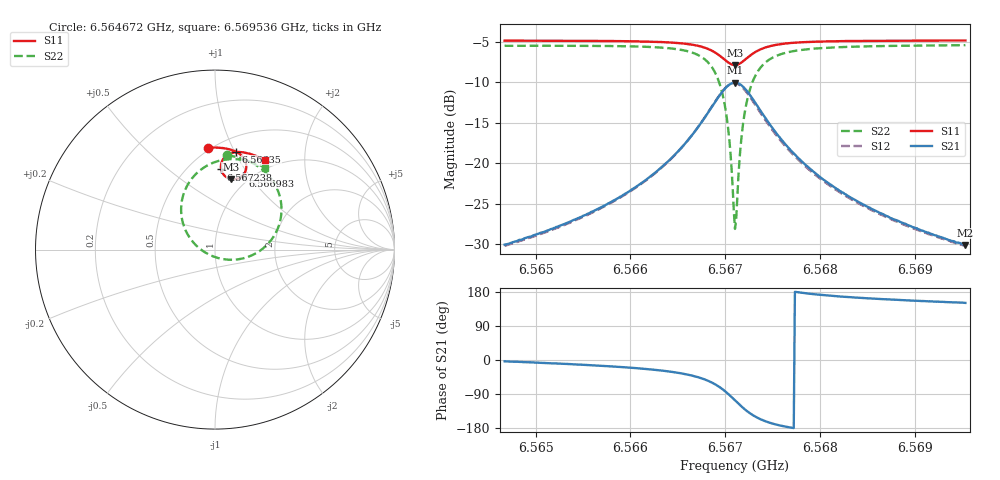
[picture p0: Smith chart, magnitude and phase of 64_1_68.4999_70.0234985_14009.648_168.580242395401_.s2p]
#  HZ  S  RI  R  50.00
! Rohde & Schwarz Vector Network Analyzer
! Rohde-Schwarz,ZNB20-2Port,1311601062101988,3.16
! Created: UTC 3/20/2024, 4:51:21 PM
! freq[Hz]  re:S11  im:S11  re:S21  im:S21  re:S12  im:S12  re:S22  im:S22
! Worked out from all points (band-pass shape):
!   401 points, 6.564672 GHz to 6.569536 GHz, reference 50 ohm
!   highest |S21| = -10.07 dB at 6.567104 GHz (marker M1); lowest = -30.1 dB at 6.569536 GHz (marker M2)
!   |S21| within 3 dB of the highest: 6.56686 GHz to 6.567347 GHz (486.7 kHz wide, 0.00741 % of centre)
!   lowest |S11| = -7.9 dB at 6.567104 GHz (marker M3), VSWR 2.35, Z = 42.4 + j39.8 ohm
!   |S11| at or under -10 dB: nowhere
!   |S22| runs from -28.1 to -5.4 dB; largest |S21 - S12| = 0.016
!   S11 on the Smith chart (normalised r, x): 6.564672 GHz: 0.48, +0.81; 6.56635 GHz: 0.64, +1.01; 6.566983 GHz: 0.91, +0.93; 6.567238 GHz: 0.71, +0.79; 6.569536 GHz: 0.87, +1.29
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6.5646723e9  -0.0373 0.5683  0.0314 -0.00188  0.0308 -0.00236  0.0661 0.5253
6.565487e9  0.0311 0.5672  0.0457 -0.01  0.0451 -0.0107  0.1486 0.5076
6.5663017e9  0.1118 0.5479  0.0814 -0.0416  0.0802 -0.0427  0.2696 0.4413
6.5663503e9  0.1175 0.5452  0.085 -0.0462  0.0838 -0.0473  0.2795 0.4322
6.5666056e9  0.1497 0.5217  0.108 -0.0863  0.1063 -0.0881  0.339 0.3535
6.566788e9  0.1713 0.4853  0.1192 -0.1507  0.116 -0.154  0.3704 0.2292
6.5668975e9  0.1728 0.4479  0.1031 -0.2166  0.0967 -0.2212  0.3433 0.1031
6.5669826e9  0.1544 0.4128  0.0535 -0.276  0.0426 -0.2794  0.2504 -0.0067
6.5670312e9  0.1319 0.3972  0.00387 -0.3009  -0.00968 -0.3012  0.1574 -0.0487
6.5670555e9  0.1178 0.3927  -0.026 -0.3067  -0.0404 -0.3049  0.1028 -0.0566
6.567092e9  0.0949 0.3917  -0.0734 -0.3048  -0.0879 -0.299  0.0176 -0.0471
6.5671042e9  0.0873 0.3931  -0.0891 -0.3009  -0.1033 -0.2938  -0.00996 -0.038
6.5671163e9  0.0797 0.3952  -0.1042 -0.2956  -0.1178 -0.2872  -0.0362 -0.0263
6.5671285e9  0.0725 0.3982  -0.1188 -0.2887  -0.1317 -0.2792  -0.061 -0.0121
6.5671528e9  0.0597 0.4063  -0.1451 -0.2713  -0.1561 -0.2597  -0.1046 0.0226
6.5671771e9  0.0492 0.4166  -0.1665 -0.2502  -0.1755 -0.2371  -0.1391 0.0634
6.5672379e9  0.0344 0.4469  -0.1983 -0.1903  -0.2017 -0.1768  -0.1844 0.1728
6.5673352e9  0.0378 0.4892  -0.2001 -0.1083  -0.1982 -0.0978  -0.1729 0.316
6.5674811e9  0.0648 0.5241  -0.1654 -0.0401  -0.1618 -0.0346  -0.0972 0.4298
6.5679188e9  0.1352 0.5438  -0.0894 0.00919  -0.0871 0.0106  0.0678 0.5029
6.5687335e9  0.216 0.5267  -0.0435 0.016  -0.0425 0.0165  0.2007 0.4887
6.569536e9  0.2776 0.499  -0.0273 0.0153  -0.0267 0.0153  0.2773 0.4564
